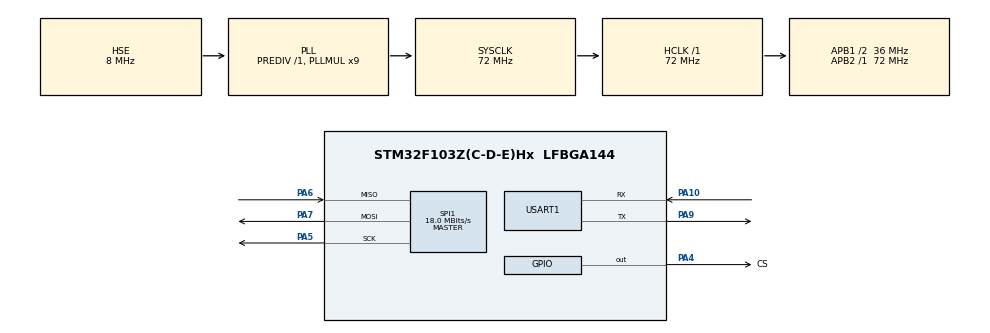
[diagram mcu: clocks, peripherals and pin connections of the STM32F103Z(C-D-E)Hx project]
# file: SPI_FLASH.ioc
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Mcu.Family=STM32F1
Mcu.Name=STM32F103Z(C-D-E)Hx
Mcu.Package=LFBGA144
NVIC.PriorityGroup=NVIC_PRIORITYGROUP_4
OSC_IN.Mode=HSE-External-Oscillator
OSC_IN.Signal=RCC_OSC_IN
OSC_OUT.Mode=HSE-External-Oscillator
OSC_OUT.Signal=RCC_OSC_OUT
PA10.Mode=Asynchronous
PA10.Signal=USART1_RX
PA13.Mode=JTAG_5_pin
PA13.Signal=SYS_JTMS-SWDIO
PA14.Mode=JTAG_5_pin
PA14.Signal=SYS_JTCK-SWCLK
PA15.Mode=JTAG_5_pin
PA15.Signal=SYS_JTDI
PA4.GPIO_Label=CS
PA4.GPIO_Speed=GPIO_SPEED_HIGH
PA4.Signal=GPIO_Output
PA5.Mode=Full_Duplex_Master
PA5.Signal=SPI1_SCK
PA6.Mode=Full_Duplex_Master
PA6.Signal=SPI1_MISO
PA7.Mode=Full_Duplex_Master
PA7.Signal=SPI1_MOSI
PA9.Mode=Asynchronous
PA9.Signal=USART1_TX
PB3.Mode=JTAG_5_pin
PB3.Signal=SYS_JTDO-TRACESWO
PB4.Mode=JTAG_5_pin
PB4.Signal=SYS_NJTRST
ProjectManager.TargetToolchain=MDK-ARM V5
RCC.AHBFreq_Value=72000000
RCC.APB1CLKDivider=RCC_HCLK_DIV2
RCC.APB1Freq_Value=36000000
RCC.APB1TimFreq_Value=72000000
RCC.APB2Freq_Value=72000000
RCC.APB2TimFreq_Value=72000000
RCC.HCLKFreq_Value=72000000
RCC.HSIState=RCC_HSI_ON
RCC.PLLMUL=RCC_PLL_MUL9
RCC.PLLSourceVirtual=RCC_PLLSOURCE_HSE
RCC.SYSCLKFreq_VALUE=72000000
RCC.SYSCLKSource=RCC_SYSCLKSOURCE_PLLCLK
RCC.USBFreq_Value=72000000
SPI1.BaudRatePrescaler=SPI_BAUDRATEPRESCALER_4
SPI1.CLKPhase=SPI_PHASE_2EDGE
SPI1.CLKPolarity=SPI_POLARITY_HIGH
SPI1.CalculateBaudRate=18.0 MBits/s
SPI1.Mode=SPI_MODE_MASTER
board=SPI_FLASH

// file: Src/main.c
/**
  ******************************************************************************
  * File Name          : main.c
  * Description        : Main program body
  ******************************************************************************
  *
  * COPYRIGHT(c) 2016 STMicroelectronics
  *
  * Redistribution and use in source and binary forms, with or without modification,
  * are permitted provided that the following conditions are met:
  *   1. Redistributions of source code must retain the above copyright notice,
  *      this list of conditions and the following disclaimer.
  *   2. Redistributions in binary form must reproduce the above copyright notice,
  *      this list of conditions and the following disclaimer in the documentation
  *      and/or other materials provided with the distribution.
  *   3. Neither the name of STMicroelectronics nor the names of its contributors
  *      may be used to endorse or promote products derived from this software
  *      without specific prior written permission.
  *
  * THIS SOFTWARE IS PROVIDED BY THE COPYRIGHT HOLDERS AND CONTRIBUTORS "AS IS"
  * AND ANY EXPRESS OR IMPLIED WARRANTIES, INCLUDING, BUT NOT LIMITED TO, THE
  * IMPLIED WARRANTIES OF MERCHANTABILITY AND FITNESS FOR A PARTICULAR PURPOSE ARE
  * DISCLAIMED. IN NO EVENT SHALL THE COPYRIGHT HOLDER OR CONTRIBUTORS BE LIABLE
  * FOR ANY DIRECT, INDIRECT, INCIDENTAL, SPECIAL, EXEMPLARY, OR CONSEQUENTIAL
  * DAMAGES (INCLUDING, BUT NOT LIMITED TO, PROCUREMENT OF SUBSTITUTE GOODS OR
  * SERVICES; LOSS OF USE, DATA, OR PROFITS; OR BUSINESS INTERRUPTION) HOWEVER
  * CAUSED AND ON ANY THEORY OF LIABILITY, WHETHER IN CONTRACT, STRICT LIABILITY,
  * OR TORT (INCLUDING NEGLIGENCE OR OTHERWISE) ARISING IN ANY WAY OUT OF THE USE
  * OF THIS SOFTWARE, EVEN IF ADVISED OF THE POSSIBILITY OF SUCH DAMAGE.
  *
  ******************************************************************************
  */
#include "stm32f1xx_hal.h"

/* USER CODE BEGIN Includes */
#include "UART.h"
#include "SPI_FLASH.h"
/* USER CODE END Includes */

SPI_HandleTypeDef hspi1;

UART_HandleTypeDef huart1;

/* USER CODE BEGIN PV */
/* Private variables ---------------------------------------------------------*/

/* USER CODE END PV */

void SystemClock_Config(void);
static void MX_GPIO_Init(void);
static void MX_SPI1_Init(void);
static void MX_USART1_UART_Init(void);

/* USER CODE BEGIN PFP */
/* Private function prototypes -----------------------------------------------*/

/* USER CODE END PFP */

/* USER CODE BEGIN 0 */
typedef enum { FAILED = 0, PASSED = !FAILED} TestStatus;

/* 获取缓冲区的长度 */
#define TxBufferSize1   (countof(TxBuffer1) - 1)
#define RxBufferSize1   (countof(TxBuffer1) - 1)
#define countof(a)      (sizeof(a) / sizeof(*(a)))
#define  BufferSize (countof(Tx_Buffer)-1)

#define  FLASH_WriteAddress     0x00000
#define  FLASH_ReadAddress      FLASH_WriteAddress
#define  FLASH_SectorToErase    FLASH_WriteAddress
//#define  sFLASH_ID              0xEF3015     //W25X16
//#define  sFLASH_ID              0xEF4015	 //W25Q16
#define  sFLASH_ID              0XEF4017    //W25Q64

/* 发送缓冲区初始化 */
uint8_t Tx_Buffer[] = " 感谢您选用野火stm32开发板\r\n                http://firestm32.taobao.com";
uint8_t Rx_Buffer[BufferSize];

__IO uint32_t DeviceID = 0;
__IO uint32_t FlashID = 0;
__IO TestStatus TransferStatus1 = FAILED;

// 函数原型声明
void Delay(__IO uint32_t nCount);
TestStatus Buffercmp(uint8_t* pBuffer1, uint8_t* pBuffer2, uint16_t BufferLength);
/* USER CODE END 0 */

int main(void)
{

  /* MCU Configuration----------------------------------------------------------*/

  /* Reset of all peripherals, Initializes the Flash interface and the Systick. */
  HAL_Init();

  /* Configure the system clock */
  SystemClock_Config();

  /* Initialize all configured peripherals */
  MX_GPIO_Init();
  MX_SPI1_Init();
  MX_USART1_UART_Init();

  /* USER CODE BEGIN 2 */
		printf("\r\n 这是一个8M串行flash(W25X64)实验 \r\n");

	/* Get SPI Flash Device ID */
	DeviceID = SPI_FLASH_ReadDeviceID();

	Delay( 200 );

	/* Get SPI Flash ID */
	FlashID = SPI_FLASH_ReadID();

	printf("\r\n FlashID is 0x%X,  Manufacturer Device ID is 0x%X\r\n", FlashID, DeviceID);

	/* Check the SPI Flash ID */
	if (FlashID == sFLASH_ID)  /* #define  sFLASH_ID  0XEF4017 */
	{
		printf("\r\n 检测到华邦串行flash W25X64 !\r\n");

		/* Erase SPI FLASH Sector to write on */
		SPI_FLASH_SectorErase(FLASH_SectorToErase);

		/* 将发送缓冲区的数据写到flash中 */
		SPI_FLASH_BufferWrite(Tx_Buffer, FLASH_WriteAddress, BufferSize);
		printf("\r\n 写入的数据为：%s \r\t", Tx_Buffer);

		/* 将刚刚写入的数据读出来放到接收缓冲区中 */
		SPI_FLASH_BufferRead(Rx_Buffer, FLASH_ReadAddress, BufferSize);
		printf("\r\n 读出的数据为：%s \r\n", Rx_Buffer);

		/* 检查写入的数据与读出的数据是否相等 */
		TransferStatus1 = Buffercmp(Tx_Buffer, Rx_Buffer, BufferSize);

		if( PASSED == TransferStatus1 )
		{
			printf("\r\n 8M串行flash(W25X64)测试成功!\n\r");
		}
		else
		{
			printf("\r\n 8M串行flash(W25X64)测试失败!\n\r");
		}
	}// if (FlashID == sFLASH_ID)
	else
	{
		printf("\r\n 获取不到 W25X64 ID!\n\r");
	}

	SPI_Flash_PowerDown();
  /* USER CODE END 2 */

  /* Infinite loop */
  while (1)
  {

  }

}

/** System Clock Configuration
*/
void SystemClock_Config(void)
{

  RCC_OscInitTypeDef RCC_OscInitStruct;
  RCC_ClkInitTypeDef RCC_ClkInitStruct;

  RCC_OscInitStruct.OscillatorType = RCC_OSCILLATORTYPE_HSE;
  RCC_OscInitStruct.HSEState = RCC_HSE_ON;
  RCC_OscInitStruct.HSEPredivValue = RCC_HSE_PREDIV_DIV1;
  RCC_OscInitStruct.PLL.PLLState = RCC_PLL_ON;
  RCC_OscInitStruct.PLL.PLLSource = RCC_PLLSOURCE_HSE;
  RCC_OscInitStruct.PLL.PLLMUL = RCC_PLL_MUL9;
  HAL_RCC_OscConfig(&RCC_OscInitStruct);

  RCC_ClkInitStruct.ClockType = RCC_CLOCKTYPE_SYSCLK|RCC_CLOCKTYPE_PCLK1;
  RCC_ClkInitStruct.SYSCLKSource = RCC_SYSCLKSOURCE_PLLCLK;
  RCC_ClkInitStruct.AHBCLKDivider = RCC_SYSCLK_DIV1;
  RCC_ClkInitStruct.APB1CLKDivider = RCC_HCLK_DIV2;
  RCC_ClkInitStruct.APB2CLKDivider = RCC_HCLK_DIV1;
  HAL_RCC_ClockConfig(&RCC_ClkInitStruct, FLASH_LATENCY_2);

  HAL_SYSTICK_Config(HAL_RCC_GetHCLKFreq()/1000);

  HAL_SYSTICK_CLKSourceConfig(SYSTICK_CLKSOURCE_HCLK);

  /* SysTick_IRQn interrupt configuration */
  HAL_NVIC_SetPriority(SysTick_IRQn, 0, 0);
}

/* SPI1 init function */
void MX_SPI1_Init(void)
{

  hspi1.Instance = SPI1;
  hspi1.Init.Mode = SPI_MODE_MASTER;
  hspi1.Init.Direction = SPI_DIRECTION_2LINES;
  hspi1.Init.DataSize = SPI_DATASIZE_8BIT;
  hspi1.Init.CLKPolarity = SPI_POLARITY_HIGH;
  hspi1.Init.CLKPhase = SPI_PHASE_2EDGE;
  hspi1.Init.NSS = SPI_NSS_SOFT;
  hspi1.Init.BaudRatePrescaler = SPI_BAUDRATEPRESCALER_4;
  hspi1.Init.FirstBit = SPI_FIRSTBIT_MSB;
  hspi1.Init.TIMode = SPI_TIMODE_DISABLED;
  hspi1.Init.CRCCalculation = SPI_CRCCALCULATION_DISABLED;
  hspi1.Init.CRCPolynomial = 10;
  HAL_SPI_Init(&hspi1);

}

/* USART1 init function */
void MX_USART1_UART_Init(void)
{

  huart1.Instance = USART1;
  huart1.Init.BaudRate = 115200;
  huart1.Init.WordLength = UART_WORDLENGTH_8B;
  huart1.Init.StopBits = UART_STOPBITS_1;
  huart1.Init.Parity = UART_PARITY_NONE;
  huart1.Init.Mode = UART_MODE_TX_RX;
  huart1.Init.HwFlowCtl = UART_HWCONTROL_NONE;
  huart1.Init.OverSampling = UART_OVERSAMPLING_16;
  HAL_UART_Init(&huart1);

}

/** Configure pins as
        * Analog
        * Input
        * Output
        * EVENT_OUT
        * EXTI
*/
void MX_GPIO_Init(void)
{

  GPIO_InitTypeDef GPIO_InitStruct;

  /* GPIO Ports Clock Enable */
  __GPIOB_CLK_ENABLE();
  __GPIOA_CLK_ENABLE();

  /*Configure GPIO pin : CS_Pin */
  GPIO_InitStruct.Pin = CS_Pin;
  GPIO_InitStruct.Mode = GPIO_MODE_OUTPUT_PP;
  GPIO_InitStruct.Speed = GPIO_SPEED_HIGH;
  HAL_GPIO_Init(CS_GPIO_Port, &GPIO_InitStruct);

}

/* USER CODE BEGIN 4 */
/*
 * 函数名：Buffercmp
 * 描述  ：比较两个缓冲区中的数据是否相等
 * 输入  ：-pBuffer1     src缓冲区指针
 *         -pBuffer2     dst缓冲区指针
 *         -BufferLength 缓冲区长度
 * 输出  ：无
 * 返回  ：-PASSED pBuffer1 等于   pBuffer2
 *         -FAILED pBuffer1 不同于 pBuffer2
 */
TestStatus Buffercmp(uint8_t* pBuffer1, uint8_t* pBuffer2, uint16_t BufferLength)
{
  while(BufferLength--)
  {
    if(*pBuffer1 != *pBuffer2)
    {
      return FAILED;
    }

    pBuffer1++;
    pBuffer2++;
  }
  return PASSED;
}

void Delay(__IO uint32_t nCount)
{
  for(; nCount != 0; nCount--);
}
/* USER CODE END 4 */

/************************ (C) COPYRIGHT STMicroelectronics *****END OF FILE****/
